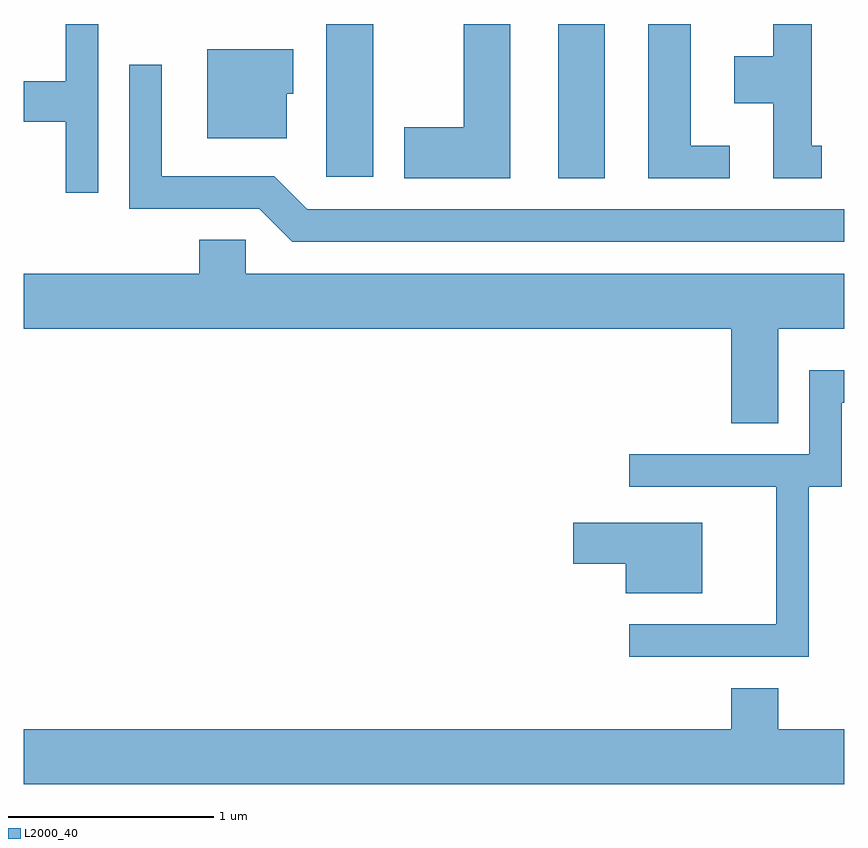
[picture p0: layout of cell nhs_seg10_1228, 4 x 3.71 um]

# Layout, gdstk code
import gdstk
lib = gdstk.Library(unit=1e-6, precision=1e-09)
def R(c, l, rs):  # rectangles x0, y0, x1, y1
    for r in rs: c.add(gdstk.rectangle(r[:2], r[2:], *l))
def P(c, l, *ps):  # polygons
    for p in ps: c.add(gdstk.Polygon(p, *l))
L2000_40 = (2000, 40)

nhs_seg10_1228 = lib.new_cell('nhs_seg10_1228')
R(nhs_seg10_1228, L2000_40, [(224.216,2105.771,224.444,2106.522), (223.086,2105.776,223.314,2106.522)])
P(nhs_seg10_1228, L2000_40, [(223.984,2106.522),(223.756,2106.522),(223.756,2106.019),(223.466,2106.019),(223.466,2105.771),(223.984,2105.771)],
  [(221.974,2106.522),(221.816,2106.522),(221.816,2106.244),(221.611,2106.244),(221.611,2106.046),(221.816,2106.046),(221.816,2105.698),(221.974,2105.698)],
  [(225.503,2105.929),(225.454,2105.929),(225.454,2106.522),(225.266,2106.522),(225.266,2106.364),(225.076,2106.364),(225.076,2106.136),(225.266,2106.136),(225.266,2105.771),(225.503,2105.771)],
  [(225.053,2105.929),(224.864,2105.929),(224.864,2106.522),(224.656,2106.522),(224.656,2105.771),(225.053,2105.771)],
  [(222.894,2106.181),(222.924,2106.181),(222.924,2106.399),(222.506,2106.399),(222.506,2105.966),(222.894,2105.966)],
  [(225.611,2105.619),(222.992,2105.619),(222.832,2105.779),(222.284,2105.779),(222.284,2106.323),(222.126,2106.323),(222.126,2105.621),(222.759,2105.621),(222.919,2105.461),(225.611,2105.461)],
  [(225.289,2105.036),(225.611,2105.036),(225.611,2105.304),(222.694,2105.304),(222.694,2105.469),(222.466,2105.469),(222.466,2105.304),(221.611,2105.304),(221.611,2105.036),(225.061,2105.036),(225.061,2104.576),(225.289,2104.576)],
  [(225.439,2104.266),(225.599,2104.266),(225.599,2104.676),(225.611,2104.676),(225.611,2104.834),(225.441,2104.834),(225.441,2104.424),(224.563,2104.424),(224.563,2104.266),(225.281,2104.266),(225.281,2103.594),(224.563,2103.594),(224.563,2103.436),(225.439,2103.436)],
  [(224.919,2104.089),(224.291,2104.089),(224.291,2103.891),(224.546,2103.891),(224.546,2103.746),(224.919,2103.746)],
  [(225.611,2103.084),(225.289,2103.084),(225.289,2103.284),(225.061,2103.284),(225.061,2103.084),(221.611,2103.084),(221.611,2102.816),(225.611,2102.816)])

lib.write_gds('nhs_seg10_1228.gds')
